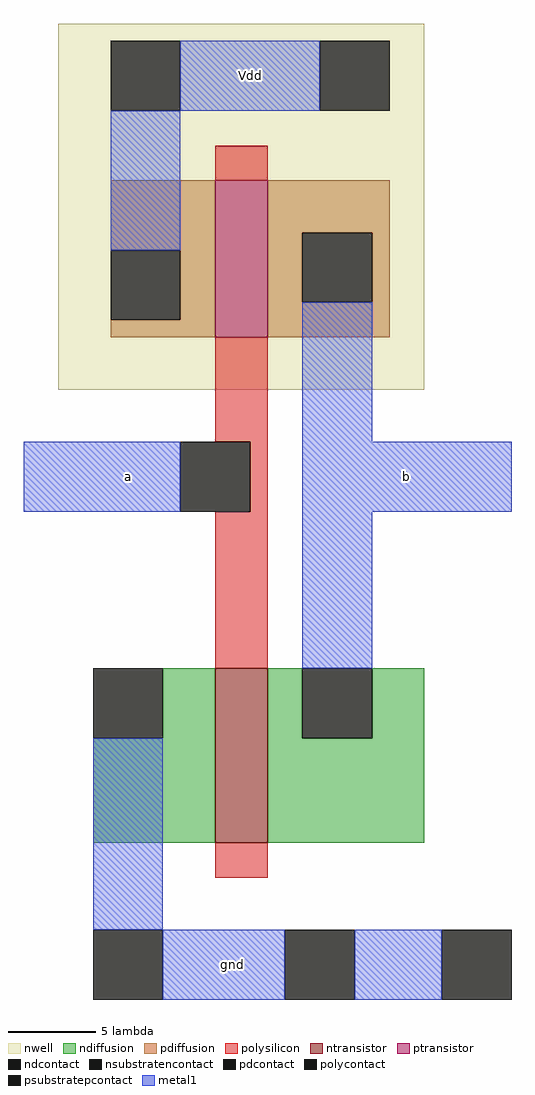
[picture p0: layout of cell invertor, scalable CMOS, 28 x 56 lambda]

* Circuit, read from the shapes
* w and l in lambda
.subckt invertor Vdd a b gnd
M1 b a gnd gnd nfet w=10 l=3
M2 b a Vdd Vdd pfet w=9 l=3
.ends

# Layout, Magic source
magic
tech scmos
<< nwell >>
rect -4 -1 17 20
<< polysilicon >>
rect 5 11 8 13
rect 5 -4 8 2
rect 7 -8 8 -4
rect 5 -17 8 -8
rect 5 -29 8 -27
<< ndiffusion >>
rect 2 -21 5 -17
rect -2 -27 5 -21
rect 8 -21 10 -17
rect 14 -21 17 -17
rect 8 -27 17 -21
<< pdiffusion >>
rect -1 7 5 11
rect 3 3 5 7
rect -1 2 5 3
rect 8 8 15 11
rect 8 4 10 8
rect 14 4 15 8
rect 8 2 15 4
<< metal1 >>
rect 3 15 11 19
rect -1 7 3 15
rect 10 -4 14 4
rect -6 -8 3 -4
rect 10 -8 22 -4
rect 10 -17 14 -8
rect -2 -32 2 -21
rect 2 -36 9 -32
rect 13 -36 18 -32
<< ntransistor >>
rect 5 -27 8 -17
<< ptransistor >>
rect 5 2 8 11
<< polycontact >>
rect 3 -8 7 -4
<< ndcontact >>
rect -2 -21 2 -17
rect 10 -21 14 -17
<< pdcontact >>
rect -1 3 3 7
rect 10 4 14 8
<< psubstratepcontact >>
rect -2 -36 2 -32
rect 9 -36 13 -32
rect 18 -36 22 -32
<< nsubstratencontact >>
rect -1 15 3 19
rect 11 15 15 19
<< labels >>
rlabel metal1 7 17 7 17 5 Vdd
rlabel metal1 0 -6 0 -6 3 a
rlabel metal1 16 -6 16 -6 1 b
rlabel metal1 6 -34 6 -34 1 gnd
<< end >>
